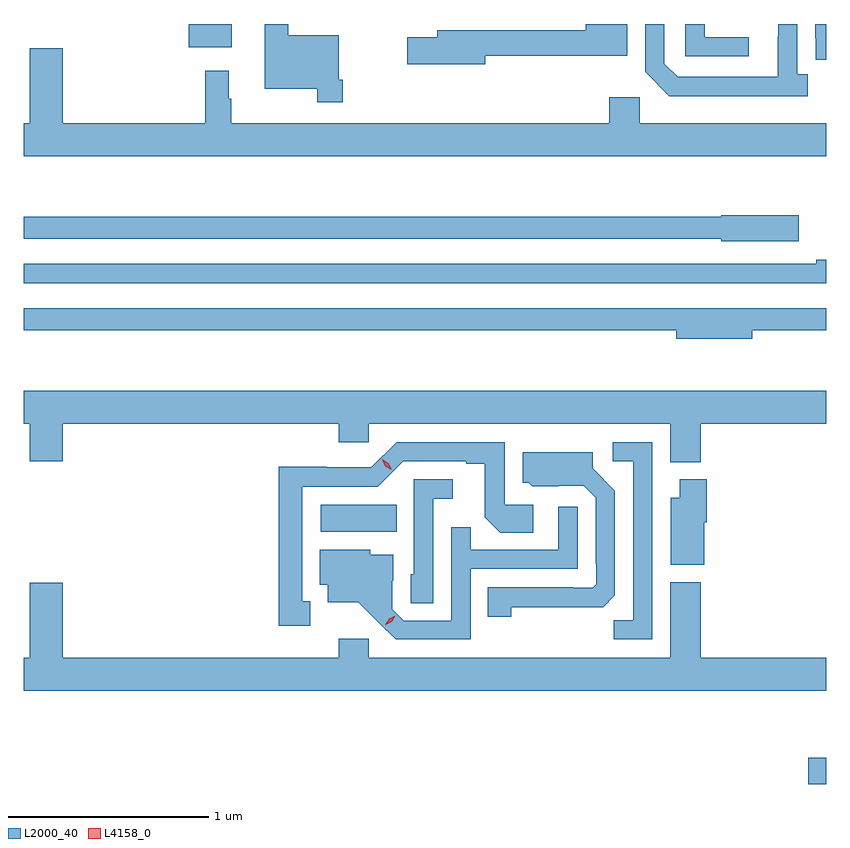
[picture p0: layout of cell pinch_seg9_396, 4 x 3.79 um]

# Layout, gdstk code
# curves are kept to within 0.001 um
import gdstk
lib = gdstk.Library(unit=1e-6, precision=1e-09)
def R(c, l, rs):  # rectangles x0, y0, x1, y1
    for r in rs: c.add(gdstk.rectangle(r[:2], r[2:], *l))
def P(c, l, *ps):  # polygons
    for p in ps: c.add(gdstk.Polygon(p, *l))
L2000_40 = (2000, 40)
L4158_0 = (4158, 0)

pinch_seg9_396 = lib.new_cell('pinch_seg9_396')
R(pinch_seg9_396, L2000_40, [(240.816,1214.603,240.906,1214.733), (238.386,1215.86,238.766,1215.994), (237.728,1218.275,237.943,1218.392)])
P(pinch_seg9_396, L2000_40, [(239.206,1218.234),(239.914,1218.234),(239.914,1218.392),(239.707,1218.392),(239.707,1218.362),(238.967,1218.362),(238.967,1218.326),(238.818,1218.326),(238.818,1218.191),(239.206,1218.191)],
  [(238.496,1218.115),(238.476,1218.115),(238.476,1218.337),(238.223,1218.337),(238.223,1218.392),(238.106,1218.392),(238.106,1218.068),(238.368,1218.068),(238.368,1218.003),(238.496,1218.003)],
  [(240.906,1218.392),(240.852,1218.392),(240.852,1218.322),(240.853,1218.322),(240.853,1218.213),(240.906,1218.213)],
  [(240.814,1218.142),(240.762,1218.142),(240.762,1218.392),(240.666,1218.392),(240.665,1218.129),(240.165,1218.129),(240.099,1218.195),(240.099,1218.392),(240.003,1218.392),(240.003,1218.153),(240.124,1218.032),(240.814,1218.032)],
  [(240.52,1218.327),(240.3,1218.327),(240.3,1218.392),(240.204,1218.392),(240.204,1218.231),(240.52,1218.231)],
  [(240.906,1217.896),(239.976,1217.896),(239.976,1218.028),(239.825,1218.028),(239.825,1217.896),(237.94,1217.896),(237.94,1218.02),(237.928,1218.02),(237.928,1218.16),(237.811,1218.16),(237.811,1217.896),(237.1,1217.896),(237.1,1218.271),(236.936,1218.271),(236.936,1217.896),(236.906,1217.896),(236.906,1217.732),(240.906,1217.732)],
  [(240.769,1217.439),(240.384,1217.439),(240.384,1217.431),(236.906,1217.431),(236.906,1217.322),(240.384,1217.322),(240.384,1217.309),(240.769,1217.309)],
  [(240.906,1217.216),(240.856,1217.216),(240.856,1217.196),(236.906,1217.196),(236.906,1217.1),(240.906,1217.1)],
  [(240.538,1216.866),(240.906,1216.866),(240.906,1216.974),(236.906,1216.974),(236.906,1216.866),(240.158,1216.866),(240.158,1216.823),(240.538,1216.823)],
  [(240.281,1216.4),(240.906,1216.4),(240.906,1216.564),(236.906,1216.564),(236.906,1216.4),(236.936,1216.4),(236.936,1216.212),(237.1,1216.212),(237.1,1216.4),(238.475,1216.4),(238.475,1216.307),(238.626,1216.307),(238.626,1216.4),(240.128,1216.4),(240.128,1216.208),(240.281,1216.208)],
  [(240.039,1216.308),(239.841,1216.308),(239.841,1216.212),(239.943,1216.212),(239.943,1215.419),(239.848,1215.419),(239.848,1215.324),(240.039,1215.324)],
  [(238.333,1215.513),(238.294,1215.513),(238.294,1216.086),(238.671,1216.086),(238.797,1216.212),(239.111,1216.212),(239.111,1216.2),(239.205,1216.2),(239.205,1215.932),(239.281,1215.856),(239.446,1215.856),(239.446,1215.996),(239.304,1215.996),(239.304,1216.308),(238.764,1216.308),(238.638,1216.182),(238.416,1216.182),(238.416,1216.184),(238.176,1216.184),(238.176,1215.393),(238.333,1215.393)],
  [(239.337,1215.484),(239.794,1215.485),(239.853,1215.544),(239.853,1216.066),(239.743,1216.176),(239.743,1216.258),(239.393,1216.258),(239.393,1216.104),(239.424,1216.104),(239.44,1216.088),(239.697,1216.089),(239.757,1216.029),(239.757,1215.7),(239.76,1215.7),(239.76,1215.6),(239.742,1215.582),(239.642,1215.582),(239.642,1215.585),(239.218,1215.585),(239.218,1215.438),(239.337,1215.438)],
  [(240.298,1215.909),(240.311,1215.909),(240.311,1216.123),(240.176,1216.123),(240.176,1216.03),(240.131,1216.03),(240.131,1215.695),(240.298,1215.695)],
  [(238.947,1216.025),(239.044,1216.025),(239.044,1216.122),(238.851,1216.122),(238.851,1215.648),(238.836,1215.648),(238.836,1215.505),(238.947,1215.505)],
  [(239.133,1215.675),(239.667,1215.675),(239.667,1215.985),(239.571,1215.985),(239.571,1215.771),(239.135,1215.771),(239.135,1215.884),(239.037,1215.884),(239.037,1215.417),(238.8,1215.417),(238.743,1215.474),(238.743,1215.616),(238.747,1215.616),(238.747,1215.745),(238.632,1215.745),(238.632,1215.772),(238.382,1215.772),(238.382,1215.596),(238.421,1215.596),(238.421,1215.509),(238.573,1215.509),(238.76,1215.324),(239.133,1215.324)],
  [(240.906,1215.232),(240.281,1215.232),(240.281,1215.61),(240.128,1215.61),(240.128,1215.232),(238.626,1215.232),(238.626,1215.328),(238.475,1215.328),(238.475,1215.232),(237.1,1215.232),(237.1,1215.607),(236.936,1215.607),(236.936,1215.232),(236.906,1215.232),(236.906,1215.068),(240.906,1215.068)])
P(pinch_seg9_396, L4158_0, [(238.709,1215.398),(238.709,1215.398),(238.727,1215.428),(238.757,1215.443),(238.758,1215.443),(238.758,1215.443),(238.74,1215.413),(238.71,1215.398)],
  [(238.741,1216.17),(238.709,1216.188),(238.692,1216.221),(238.692,1216.221),(238.692,1216.221),(238.724,1216.202),(238.741,1216.17),(238.741,1216.17)])

lib.write_gds('pinch_seg9_396.gds')
